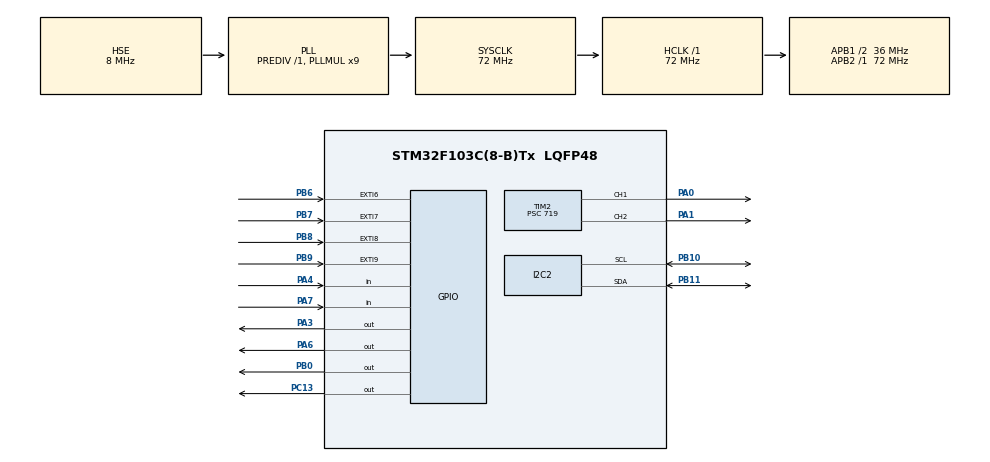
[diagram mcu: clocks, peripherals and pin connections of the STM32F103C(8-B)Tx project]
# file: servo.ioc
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Mcu.Family=STM32F1
Mcu.Name=STM32F103C(8-B)Tx
Mcu.Package=LQFP48
NVIC.EXTI9_5_IRQn=true\:0\:0\:false\:false\:true\:true\:true\:true
NVIC.PriorityGroup=NVIC_PRIORITYGROUP_4
NVIC.TIM1_BRK_IRQn=true\:0\:0\:false\:false\:true\:true\:true\:true
NVIC.TIM1_CC_IRQn=true\:0\:0\:false\:false\:true\:true\:true\:true
NVIC.TIM1_TRG_COM_IRQn=true\:0\:0\:false\:false\:true\:true\:true\:true
NVIC.TIM1_UP_IRQn=true\:0\:0\:false\:false\:true\:true\:true\:true
NVIC.TIM2_IRQn=true\:0\:0\:false\:false\:true\:true\:true\:true
PA0-WKUP.Signal=S_TIM2_CH1_ETR
PA1.Signal=S_TIM2_CH2
PA13.Mode=Serial_Wire
PA13.Signal=SYS_JTMS-SWDIO
PA14.Mode=Serial_Wire
PA14.Signal=SYS_JTCK-SWCLK
PA3.Signal=GPIO_Output
PA4.Signal=GPIO_Input
PA6.Signal=GPIO_Output
PA7.Signal=GPIO_Input
PB0.PinState=GPIO_PIN_SET
PB0.Signal=GPIO_Output
PB10.Mode=I2C
PB10.Signal=I2C2_SCL
PB11.Mode=I2C
PB11.Signal=I2C2_SDA
PB6.GPIO_ModeDefaultEXTI=GPIO_MODE_IT_RISING_FALLING
PB6.GPIO_PuPd=GPIO_NOPULL
PB6.Signal=GPXTI6
PB7.Signal=GPXTI7
PB8.Signal=GPXTI8
PB9.GPIO_PuPd=GPIO_NOPULL
PB9.Signal=GPXTI9
PC13-TAMPER-RTC.Signal=GPIO_Output
PD0-OSC_IN.Mode=HSE-External-Oscillator
PD0-OSC_IN.Signal=RCC_OSC_IN
PD1-OSC_OUT.Mode=HSE-External-Oscillator
PD1-OSC_OUT.Signal=RCC_OSC_OUT
ProjectManager.HeapSize=0x200
ProjectManager.StackSize=0x400
ProjectManager.TargetToolchain=STM32CubeIDE
RCC.AHBFreq_Value=72000000
RCC.APB1CLKDivider=RCC_HCLK_DIV2
RCC.APB1Freq_Value=36000000
RCC.APB1TimFreq_Value=72000000
RCC.APB2Freq_Value=72000000
RCC.APB2TimFreq_Value=72000000
RCC.HCLKFreq_Value=72000000
RCC.PLLMUL=RCC_PLL_MUL9
RCC.PLLSourceVirtual=RCC_PLLSOURCE_HSE
RCC.SYSCLKFreq_VALUE=72000000
RCC.SYSCLKSource=RCC_SYSCLKSOURCE_PLLCLK
RCC.USBFreq_Value=72000000
SH.S_TIM2_CH1_ETR.0=TIM2_CH1,PWM Generation1 CH1
SH.S_TIM2_CH2.0=TIM2_CH2,PWM Generation2 CH2
TIM1.Prescaler=71
TIM2.Channel-PWM\ Generation1\ CH1=TIM_CHANNEL_1
TIM2.Channel-PWM\ Generation2\ CH2=TIM_CHANNEL_2
TIM2.Period=2000-1
TIM2.Prescaler=719
TIM2.Pulse-PWM\ Generation2\ CH2=1
VP_TIM1_VS_ClockSourceINT.Mode=Internal
VP_TIM2_VS_ClockSourceINT.Mode=Internal
board=custom

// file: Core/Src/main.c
/* USER CODE BEGIN Header */
/**
  ******************************************************************************
  * @file           : main.c
  * @brief          : Main program body
  ******************************************************************************
  * @attention
  *
  * Copyright (c) 2024 STMicroelectronics.
  * All rights reserved.
  *
  * This software is licensed under terms that can be found in the LICENSE file
  * in the root directory of this software component.
  * If no LICENSE file comes with this software, it is provided AS-IS.
  *
  ******************************************************************************
  */
/* USER CODE END Header */
#include "main.h"
#include "i2c.h"
#include "tim.h"
#include "gpio.h"

/* USER CODE BEGIN PV */
  int s1,s2,s3,s4;
int distance_2,distance_1;
int keynum;
int f1=0,f2=0,f3=0,f4=0;
uint8_t i=0;

/* USER CODE END PV */

void SystemClock_Config(void);

int main(void)
{
  /* USER CODE BEGIN 1 */
int k= 0,j=0;
  /* USER CODE END 1 */

  /* MCU Configuration--------------------------------------------------------*/

  /* Reset of all peripherals, Initializes the Flash interface and the Systick. */
  HAL_Init();

  /* Configure the system clock */
  SystemClock_Config();

  /* Initialize all configured peripherals */
  MX_GPIO_Init();
  MX_TIM2_Init();
  MX_TIM1_Init();
  MX_I2C2_Init();
  /* USER CODE BEGIN 2 */
HAL_TIM_PWM_Start(&htim2, TIM_CHANNEL_1);//开启定时器2通道1PWM波
HAL_TIM_PWM_Start(&htim2, TIM_CHANNEL_2);//开启定时器2通道2PWM波
HAL_TIM_Base_Start_IT(&htim1);//开启定时器1基本中断
htim1.Instance -> CNT = 0;//将CNT的值置零
OLED_Init();//OLED初始化

  /* USER CODE END 2 */

  /* Infinite loop */
  /* USER CODE BEGIN WHILE */
  while (1)
  {

	  HCsr04_1();
	  HCsr04_2();

//	  HAL_GPIO_WritePin(GPIOA, GPIO_PIN_6, GPIO_PIN_RESET);
//	  HAL_GPIO_WritePin(GPIOA, GPIO_PIN_6, GPIO_PIN_SET);
//	  HAL_Delay(1);
//	  HAL_GPIO_WritePin(GPIOA, GPIO_PIN_6, GPIO_PIN_RESET);
//	  while(HAL_GPIO_ReadPin(GPIOA, GPIO_PIN_7) == GPIO_PIN_RESET)
//		  s1 = htim1.Instance -> CNT;
//	  while(HAL_GPIO_ReadPin(GPIOA, GPIO_PIN_7) == GPIO_PIN_SET)
//		  s2 = htim1.Instance -> CNT;
//	  distance = (s2 -s1) * 0.034/2;
//	  distance_1 = distance;
//	  HAL_Delay(500);
//	  OLED_ShowString(1, 1, "distance:");
//	  OLED_ShowNum(2, 1, distance_1, 3);
//	  OLED_ShowNum(3, 1, distance_2, 3);
//	  OLED_ShowNum(4, 1, htim1.Instance -> CNT, 3);
	  if(distance_1 <= 40 && distance_2 <= 40)
	  {
		  if(distance_2 > 10)
		  {
			  switch(keynum)
			  {
			  case 1:
				  	  if(f1 == 0)
				  	  {
				  	  Angle_Control(90);
				  	  HAL_Delay(1000);
				  	  Angle_Control(0);
				  	  HAL_Delay(500);
				  	  f1=1;
				  	  }

				  	  break;
			  case 2:
				  	  if(f2 == 0)
				  	  {
				  	  Angle_Control_2(90);
				  	  HAL_Delay(500);
				  	  Angle_Control(90);
				  	  HAL_Delay(500);
				  	  Angle_Control(0);
				  	  HAL_Delay(500);
				  	  Angle_Control_2(0);
				  	  f2 = 1;
				  	  }
				  	  break;
			  case 3:
				  	  if(f3 == 0)
				  	  {
				  		Angle_Control_2(180);
				  		HAL_Delay(500);
				  		Angle_Control(90);
				  		HAL_Delay(500);
				  		Angle_Control(0);
				  		HAL_Delay(500);
				  		Angle_Control_2(0);
				  		HAL_Delay(500);
				  		f3 =1;
				  	  }
				  	  break;
			  case 4:
				  	  if(f4 == 0)
				  	  {
				  	  Angle_Control_2(270);
				  	  HAL_Delay(1000);
				  	  Angle_Control(90);
				  	  HAL_Delay(1000);
				  	  Angle_Control(0);
				  	  HAL_Delay(1000);
				  	  Angle_Control_2(0);
				  	  HAL_Delay(1000);
				  	  f4 = 1;
				  	  }
				  	  break;
			  case 5:
				      f1=0;
					  f2=0;
					  f3=0;
					  f4=0;

			  }

			  	  keynum = 5;

			  OLED_ShowString(1, 1, "rubbish not full");//显示字符串
			  j=1;
			  if(k==1)
			  {
				  OLED_Clear();//清屏
				  k=0;
			  }

			  HAL_GPIO_WritePin(GPIOB, GPIO_PIN_0, GPIO_PIN_SET);//将PB0置高电平
		  }
		  else
		  {
			  OLED_ShowString(2, 1, "rubbish full");
			  HAL_GPIO_WritePin(GPIOB, GPIO_PIN_0, GPIO_PIN_RESET);
			  k=1;
			  if(j == 1)
			  {
				  OLED_Clear();
				  j=0;
			  }
		  }
	  }

    /* USER CODE END WHILE */

  }
}

void SystemClock_Config(void)
{
  RCC_OscInitTypeDef RCC_OscInitStruct = {0};
  RCC_ClkInitTypeDef RCC_ClkInitStruct = {0};

  /** Initializes the RCC Oscillators according to the specified parameters
  * in the RCC_OscInitTypeDef structure.
  */
  RCC_OscInitStruct.OscillatorType = RCC_OSCILLATORTYPE_HSE;
  RCC_OscInitStruct.HSEState = RCC_HSE_ON;
  RCC_OscInitStruct.HSEPredivValue = RCC_HSE_PREDIV_DIV1;
  RCC_OscInitStruct.HSIState = RCC_HSI_ON;
  RCC_OscInitStruct.PLL.PLLState = RCC_PLL_ON;
  RCC_OscInitStruct.PLL.PLLSource = RCC_PLLSOURCE_HSE;
  RCC_OscInitStruct.PLL.PLLMUL = RCC_PLL_MUL9;
  if (HAL_RCC_OscConfig(&RCC_OscInitStruct) != HAL_OK)
  {
    Error_Handler();
  }

  /** Initializes the CPU, AHB and APB buses clocks
  */
  RCC_ClkInitStruct.ClockType = RCC_CLOCKTYPE_HCLK|RCC_CLOCKTYPE_SYSCLK
                              |RCC_CLOCKTYPE_PCLK1|RCC_CLOCKTYPE_PCLK2;
  RCC_ClkInitStruct.SYSCLKSource = RCC_SYSCLKSOURCE_PLLCLK;
  RCC_ClkInitStruct.AHBCLKDivider = RCC_SYSCLK_DIV1;
  RCC_ClkInitStruct.APB1CLKDivider = RCC_HCLK_DIV2;
  RCC_ClkInitStruct.APB2CLKDivider = RCC_HCLK_DIV1;

  if (HAL_RCC_ClockConfig(&RCC_ClkInitStruct, FLASH_LATENCY_2) != HAL_OK)
  {
    Error_Handler();
  }
}

/* USER CODE BEGIN 4 */

/**
  * @brief  超声波1距离计算
  * @param  无
  * @retval 无
  */
void HCsr04_1()
{
	HAL_GPIO_WritePin(GPIOA, GPIO_PIN_6, GPIO_PIN_RESET);//将PA6置低电平
		  HAL_GPIO_WritePin(GPIOA, GPIO_PIN_6, GPIO_PIN_SET);//将PA6置高电平
		  HAL_Delay(1);
		  HAL_GPIO_WritePin(GPIOA, GPIO_PIN_6, GPIO_PIN_RESET);//将PA6置低电平
		  while(HAL_GPIO_ReadPin(GPIOA, GPIO_PIN_7) == GPIO_PIN_RESET)//当PA7不为低电平时退出循环
			  s1 = htim1.Instance -> CNT;
		  while(HAL_GPIO_ReadPin(GPIOA, GPIO_PIN_7) == GPIO_PIN_SET)//当PA7不为高电平时退出循环
			  s2 = htim1.Instance -> CNT;
		  distance_1 = (s2 -s1) * 0.034/2;//距离计算
		  HAL_Delay(500);
}

/**
  * @brief  超声波2距离计算
  * @param  无
  * @retval 无
  */
void HCsr04_2()
{
	HAL_GPIO_WritePin(GPIOA, GPIO_PIN_3, GPIO_PIN_RESET);
			  HAL_GPIO_WritePin(GPIOA, GPIO_PIN_3, GPIO_PIN_SET);
			  HAL_Delay(1);
			  HAL_GPIO_WritePin(GPIOA, GPIO_PIN_3, GPIO_PIN_RESET);
			  while(HAL_GPIO_ReadPin(GPIOA, GPIO_PIN_4) == GPIO_PIN_RESET)
				  s3 = htim1.Instance -> CNT;
			  while(HAL_GPIO_ReadPin(GPIOA, GPIO_PIN_4) == GPIO_PIN_SET)
				  s4 = htim1.Instance -> CNT;
			  distance_2 = (s4 -s3) * 0.034/2;
			  HAL_Delay(500);
}

//void Servo_Control(uint16_t angle)
//{
//	float temp;
//	temp = angle / 9*10 +50;
//	__HAL_TIM_SET_COMPARE(&htim2,TIM_CHANNEL_2,temp);
//}

/**
  * @brief  舵机1角度控制
  * @param  angle 需要控制的角度
  * @retval 无
  */
void Angle_Control(int angle)
{
	if(angle == 0)  __HAL_TIM_SetCompare(&htim2,TIM_CHANNEL_2,1);
	if(angle == 180) __HAL_TIM_SetCompare(&htim2,TIM_CHANNEL_2,248);//�??????????????178°
	if(angle == 90)  __HAL_TIM_SetCompare(&htim2,TIM_CHANNEL_2,150);//�??????????????91.6°
	if(angle == 270)  __HAL_TIM_SetCompare(&htim2,TIM_CHANNEL_2,400);//�??????????????270°
}

/**
  * @brief  舵机2角度控制
  * @param  angle 需要控制的角度
  * @retval 无
  */
void Angle_Control_2(int angle)
{
	if(angle == 0)  __HAL_TIM_SetCompare(&htim2,TIM_CHANNEL_1,1);
	if(angle == 180) __HAL_TIM_SetCompare(&htim2,TIM_CHANNEL_1,248);//�??????????????178°
	if(angle == 90)  __HAL_TIM_SetCompare(&htim2,TIM_CHANNEL_1,150);//�??????????????91.6°
	if(angle == 270)  __HAL_TIM_SetCompare(&htim2,TIM_CHANNEL_1,400);//�??????????????270°
}

//void button_1(void)
//{
//    static int flag = 0;
//
//    if(HAL_GPIO_ReadPin(GPIOB, GPIO_PIN_1) == GPIO_PIN_SET)
//    {
//
//        if(flag == 0)
//        {
//            flag = 1;
//        }
//        else
//        {
//            flag = 0;
//        }
//    }
//
//
//    if(HAL_GPIO_ReadPin(GPIOB, GPIO_PIN_1) == GPIO_PIN_RESET && flag == 1)
//    {
//        Angle_Control(0);
//    }
//}

//void delay_us(uint16_t us)
//{
//	__HAL_TIM_SET_COUNTER (&htim1 ,0);
//	while(__HAL_TIM_GET_COUNTER (&htim1 )<us );
//
//}

/**
  * @brief  外部中断回调函数
  * @param  GPIO_Pin gpio口
  * @retval 无
  */
void HAL_GPIO_EXTI_Callback(uint16_t GPIO_Pin)
{
		static int flag_1 = 0;
		static int flag_2 = 0;
		static int flag_3 = 0;
		static int flag_4 = 0;

	if(GPIO_Pin == GPIO_PIN_6)//判断是否是PIN6
	{

		    if(HAL_GPIO_ReadPin(GPIOB, GPIO_PIN_6) == GPIO_PIN_SET)//读取PB6的电平进行判断
		    {
		        if(flag_1 == 0)
		        {
		            flag_1 = 1;
		        }
		        else
		        {
		            flag_1 = 0;
		        }
		    }

		    if(HAL_GPIO_ReadPin(GPIOB, GPIO_PIN_6) == GPIO_PIN_RESET && flag_1 == 1)
		    {
//		        Angle_Control(0);
		        flag_1 = 0;
		        keynum=1;
		    }
	}

	if(GPIO_Pin == GPIO_PIN_7)
		{

			    if(HAL_GPIO_ReadPin(GPIOB, GPIO_PIN_7) == GPIO_PIN_SET)
			    {
			        if(flag_2 == 0)
			        {
			        	flag_2 = 1;
			        }
			        else
			        {
			        	flag_2= 0;
			        }
			    }

			    if(HAL_GPIO_ReadPin(GPIOB, GPIO_PIN_7) == GPIO_PIN_RESET && flag_2 == 1)
			    {
//			        Angle_Control(90);
			        flag_2 = 0;
			        keynum=2;
			    }
		}

	if(GPIO_Pin == GPIO_PIN_8)
		{
			static int flag_3 = 0;

			    if(HAL_GPIO_ReadPin(GPIOB, GPIO_PIN_8) == GPIO_PIN_SET)
			    {
			        if(flag_3 == 0)
			        {
			        	flag_3 = 1;
			        }
			        else
			        {
			        	flag_3 = 0;
			        }
			    }

			    if(HAL_GPIO_ReadPin(GPIOB, GPIO_PIN_8) == GPIO_PIN_RESET && flag_3 == 1)
			    {
//			        Angle_Control(180);
			        flag_3 = 0;
			        keynum=3;
			    }
		}
	if(GPIO_Pin == GPIO_PIN_9)
		{
			static int flag_4 = 0;

			    if(HAL_GPIO_ReadPin(GPIOB, GPIO_PIN_9) == GPIO_PIN_SET)
			    {
			        if(flag_4 == 0)
			        {
			        	flag_4 = 1;
			        }
			        else
			        {
			        	flag_4 = 0;
			        }
			    }

			    if(HAL_GPIO_ReadPin(GPIOB, GPIO_PIN_9) == GPIO_PIN_RESET && flag_4 == 1)
			    {
//			        Angle_Control(270);
			        flag_4 = 0;
			        keynum=4;
			    }
		}

}

/* USER CODE END 4 */

void Error_Handler(void)
{
  __disable_irq();
  while (1)
  {
  }
}
